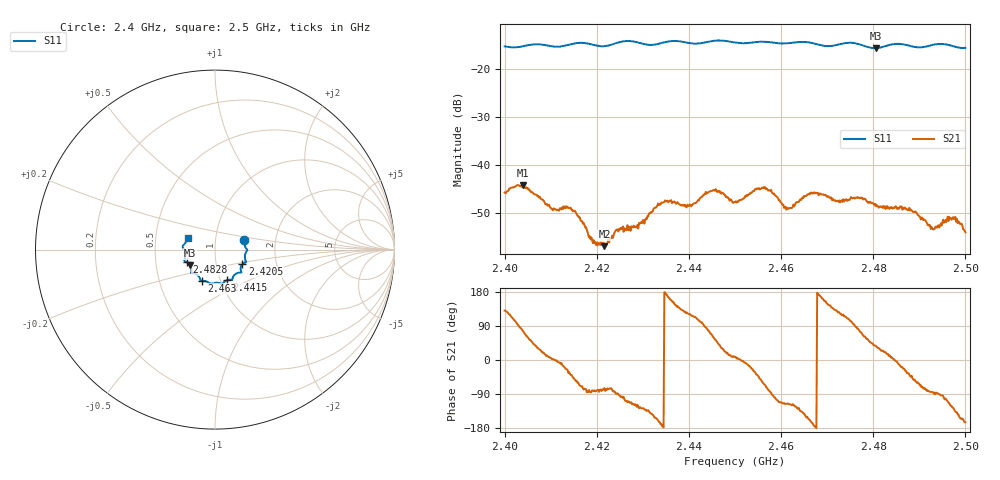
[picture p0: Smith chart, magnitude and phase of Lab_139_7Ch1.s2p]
# Hz S RI R 50
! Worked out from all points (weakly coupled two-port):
!   601 points, 2.4 GHz to 2.5 GHz, reference 50 ohm
!   highest |S21| = -44.12 dB at 2.404 GHz (marker M1); lowest = -56.8 dB at 2.4217 GHz (marker M2)
!   lowest |S11| = -15.7 dB at 2.4805 GHz (marker M3), VSWR 1.39, Z = 37.3 - j6.69 ohm
!   |S11| at or under -10 dB: start of sweep to end of sweep
!   S12 and S22 are empty: the file has one direction only
!   S11 on the Smith chart (normalised r, x): 2.4 GHz: 1.38, +0.15; 2.4205 GHz: 1.34, -0.23; 2.4415 GHz: 1.07, -0.38; 2.463 GHz: 0.82, -0.29; 2.4828 GHz: 0.72, -0.10; 2.5 GHz: 0.73, +0.10
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2.4e9  0.1635 0.0519  -0.00337 0.00396  0 0  0 0
2.404e9  0.1714 0.0101  0.00145 0.00605  0 0  0 0
2.410333e9  0.1703 -0.0189  0.00347 0.000124  0 0  0 0
2.414167e9  0.1693 -0.059  0.0029 -0.0021  0 0  0 0
2.416667e9  0.173 -0.0699  0.000904 -0.00247  0 0  0 0
2.4205e9  0.1521 -0.0816  0.000159 -0.00152  0 0  0 0
2.421667e9  0.1458 -0.0916  0.000392 -0.00138  0 0  0 0
2.433333e9  0.1002 -0.1515  -0.00375 -0.00141  0 0  0 0
2.4415e9  0.0658 -0.1706  -0.00152 0.00374  0 0  0 0
2.445333e9  0.0425 -0.1909  0.00279 0.00477  0 0  0 0
2.45e9  0.0243 -0.1864  0.0041 0.000541  0 0  0 0
2.456333e9  -0.0228 -0.1903  0.00255 -0.00519  0 0  0 0
2.461167e9  -0.0575 -0.1747  -0.0015 -0.00311  0 0  0 0
2.463e9  -0.0722 -0.1738  -0.00207 -0.00327  0 0  0 0
2.466667e9  -0.0821 -0.167  -0.00503 -0.00131  0 0  0 0
2.4805e9  -0.1389 -0.0873  0.00313 0.00241  0 0  0 0
2.482833e9  -0.1587 -0.07  0.00352 0.00108  0 0  0 0
2.483333e9  -0.1625 -0.0681  0.00358 0.000698  0 0  0 0
2.488667e9  -0.1658 -0.0393  0.00204 -0.00254  0 0  0 0
2.493e9  -0.1778 0.00952  0.000173 -0.00213  0 0  0 0
2.497667e9  -0.1665 0.0357  -0.00196 -0.00209  0 0  0 0
2.5e9  -0.1525 0.0643  -0.00194 -0.000533  0 0  0 0
